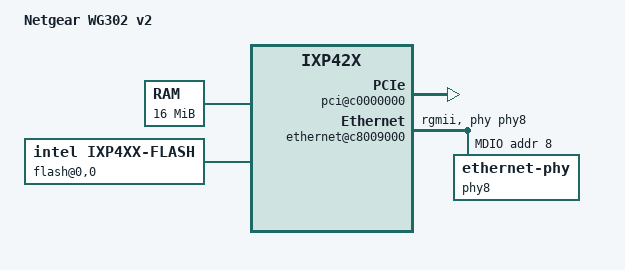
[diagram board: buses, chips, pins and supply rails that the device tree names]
// SPDX-License-Identifier: ISC
/*
 * Device Tree file for Netgear WG302v2 based on IXP422BB
 * Derived from boardfiles written by Imre Kaloz
 */

/dts-v1/;

#include "intel-ixp42x.dtsi"
#include <dt-bindings/input/input.h>

/ {
	model = "Netgear WG302 v2";
	compatible = "netgear,wg302v2", "intel,ixp42x";
	#address-cells = <1>;
	#size-cells = <1>;

	memory@0 {
		/* 16 MB SDRAM according to OpenWrt database */
		device_type = "memory";
		reg = <0x00000000 0x01000000>;
	};

	chosen {
		bootargs = "console=ttyS0,115200n8 root=/dev/sda1 rw rootwait";
		stdout-path = "uart1:115200n8";
	};

	aliases {
		/* These are switched around */
		serial0 = &uart1;
		serial1 = &uart0;
	};

	soc {
		bus@c4000000 {
			flash@0,0 {
				compatible = "intel,ixp4xx-flash", "cfi-flash";
				bank-width = <2>;
				/*
				 * 32 MB of Flash in 128 0x20000 sized blocks
				 * mapped in at CS0 and CS1
				 */
				reg = <0 0x00000000 0x2000000>;

				/* Configure expansion bus to allow writes */
				intel,ixp4xx-eb-write-enable = <1>;

				partitions {
					compatible = "redboot-fis";
					/* CHECKME: guess this is Redboot FIS */
					fis-index-block = <0xff>;
				};
			};
		};

		pci@c0000000 {
			status = "ok";

			/*
			 * Taken from WG302 v2 PCI boardfile (wg302v2-pci.c)
			 * We have slots (IDSEL) 1 and 2 with one assigned IRQ
			 * each handling all IRQs.
			 */
			interrupt-map =
			/* IDSEL 1 */
			<0x0800 0 0 1 &gpio0 8 IRQ_TYPE_LEVEL_LOW>, /* INT A on slot 1 is irq 8 */
			<0x0800 0 0 2 &gpio0 8 IRQ_TYPE_LEVEL_LOW>, /* INT B on slot 1 is irq 8 */
			<0x0800 0 0 3 &gpio0 8 IRQ_TYPE_LEVEL_LOW>, /* INT C on slot 1 is irq 8 */
			<0x0800 0 0 4 &gpio0 8 IRQ_TYPE_LEVEL_LOW>, /* INT D on slot 1 is irq 8 */
			/* IDSEL 2 */
			<0x1000 0 0 1 &gpio0 9 IRQ_TYPE_LEVEL_LOW>, /* INT A on slot 2 is irq 9 */
			<0x1000 0 0 2 &gpio0 9 IRQ_TYPE_LEVEL_LOW>, /* INT B on slot 2 is irq 9 */
			<0x1000 0 0 3 &gpio0 9 IRQ_TYPE_LEVEL_LOW>, /* INT C on slot 2 is irq 9 */
			<0x1000 0 0 4 &gpio0 9 IRQ_TYPE_LEVEL_LOW>; /* INT D on slot 2 is irq 9 */
		};

		ethernet@c8009000 {
			status = "ok";
			queue-rx = <&qmgr 3>;
			queue-txready = <&qmgr 20>;
			phy-mode = "rgmii";
			phy-handle = <&phy8>;

			mdio {
				#address-cells = <1>;
				#size-cells = <0>;

				phy8: ethernet-phy@8 {
					reg = <8>;
				};
			};
		};
	};
};
